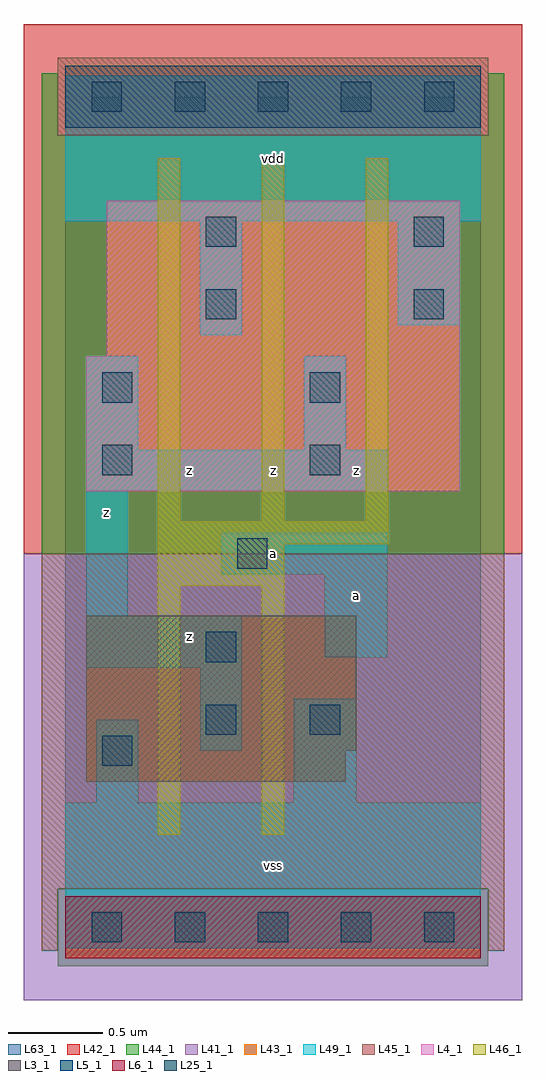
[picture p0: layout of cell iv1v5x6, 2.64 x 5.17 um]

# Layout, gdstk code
import gdstk
lib = gdstk.Library(unit=1e-6, precision=1e-09)
def R(c, l, rs):  # rectangles x0, y0, x1, y1
    for r in rs: c.add(gdstk.rectangle(r[:2], r[2:], *l))
def A(c, l, x, y, w, h, nx, ny, dx, dy):  # array of equal rectangles
    R(c, l, [(x+i*dx, y+j*dy, x+i*dx+w, y+j*dy+h) for i in range(nx) for j in range(ny)])
L3_1 = (3, 1)
L4_1 = (4, 1)
L5_1 = (5, 1)
L6_1 = (6, 1)
L25_1 = (25, 1)
L41_1 = (41, 1)
L42_1 = (42, 1)
L43_1 = (43, 1)
L44_1 = (44, 1)
L45_1 = (45, 1)
L46_1 = (46, 1)
L49_1 = (49, 1)
L63_1 = (63, 1)

iv1v5x6 = lib.new_cell('iv1v5x6')
R(iv1v5x6, L3_1, [(0.11,0.77,1.485,0.935), (0.11,0.935,1.54,1.65)])
R(iv1v5x6, L4_1, [(0.11,2.31,2.09,3.025), (0.22,3.025,2.09,3.85)])
R(iv1v5x6, L5_1, [(0,4.235,2.2,4.565)])
R(iv1v5x6, L6_1, [(0,-0.165,2.2,0.165)])
A(iv1v5x6, L25_1, 0.14, -0.08, 0.16, 0.16, 5, 2, 0.44, 4.4)
R(iv1v5x6, L25_1, [(0.195,0.855,0.355,1.015), (0.745,1.02,0.905,1.18), (1.295,1.02,1.455,1.18), (0.745,1.405,0.905,1.565), (0.91,1.9,1.07,2.06), (0.195,2.395,0.355,2.555), (1.295,2.395,1.455,2.555), (0.195,2.78,0.355,2.94), (1.295,2.78,1.455,2.94), (0.745,3.22,0.905,3.38), (1.845,3.22,2.005,3.38), (0.745,3.605,0.905,3.765), (1.845,3.605,2.005,3.765)])
R(iv1v5x6, L41_1, [(-0.22,-0.385,2.42,1.98)])
R(iv1v5x6, L42_1, [(-0.22,1.98,2.42,4.785)])
R(iv1v5x6, L43_1, [(0,-0.165,2.2,0.165), (0.11,0.77,1.485,0.935), (0.11,0.935,1.54,1.65), (0.11,2.31,2.09,3.025), (0.22,3.025,2.09,3.85), (0,4.235,2.2,4.565)])
R(iv1v5x6, L44_1, [(-0.04,-0.205,2.24,0.205), (-0.125,1.98,2.325,4.195), (-0.125,4.195,-0.04,4.525), (2.24,4.195,2.325,4.525)])
R(iv1v5x6, L45_1, [(-0.125,-0.125,-0.04,0.205), (2.24,-0.125,2.325,0.205), (-0.125,0.205,2.325,1.98), (-0.04,4.195,2.24,4.605)])
A(iv1v5x6, L46_1, 0.49, 2.15, 0.12, 1.925, 3, 1, 0.55, 0)
R(iv1v5x6, L46_1, [(0.49,0.49,0.61,1.81), (1.04,0.49,1.16,1.81), (0.49,1.81,1.16,2.03), (0.49,2.03,1.71,2.15)])
R(iv1v5x6, L49_1, [(0,-0.11,2.2,0.66), (0.165,0.66,0.385,1.1), (1.21,0.66,1.54,1.21), (0.715,0.935,0.935,1.375), (0.11,1.375,0.935,1.65), (1.375,1.43,1.705,1.87), (0.11,1.65,0.33,2.31), (0.825,1.87,1.705,2.09), (0.11,2.31,1.705,2.53), (0.11,2.53,0.385,3.025), (1.265,2.53,1.485,3.025), (0.715,3.135,0.935,3.74), (1.76,3.19,2.09,3.74), (0,3.74,2.2,4.51)])
R(iv1v5x6, L63_1, [(0,0,2.2,4.4)])
iv1v5x6.add(gdstk.Label('z', (0.22,2.2), layer=49, texttype=1))
iv1v5x6.add(gdstk.Label('z', (0.66,1.54), layer=49, texttype=1))
iv1v5x6.add(gdstk.Label('z', (0.66,2.42), layer=49, texttype=1))
iv1v5x6.add(gdstk.Label('vss', (1.1,0.33), layer=49, texttype=1))
iv1v5x6.add(gdstk.Label('a', (1.1,1.98), layer=49, texttype=1))
iv1v5x6.add(gdstk.Label('a', (1.54,1.76), layer=49, texttype=1))
iv1v5x6.add(gdstk.Label('z', (1.54,2.42), layer=49, texttype=1))
iv1v5x6.add(gdstk.Label('z', (1.1,2.42), layer=49, texttype=1))
iv1v5x6.add(gdstk.Label('vdd', (1.1,4.07), layer=49, texttype=1))

lib.write_gds('iv1v5x6.gds')
